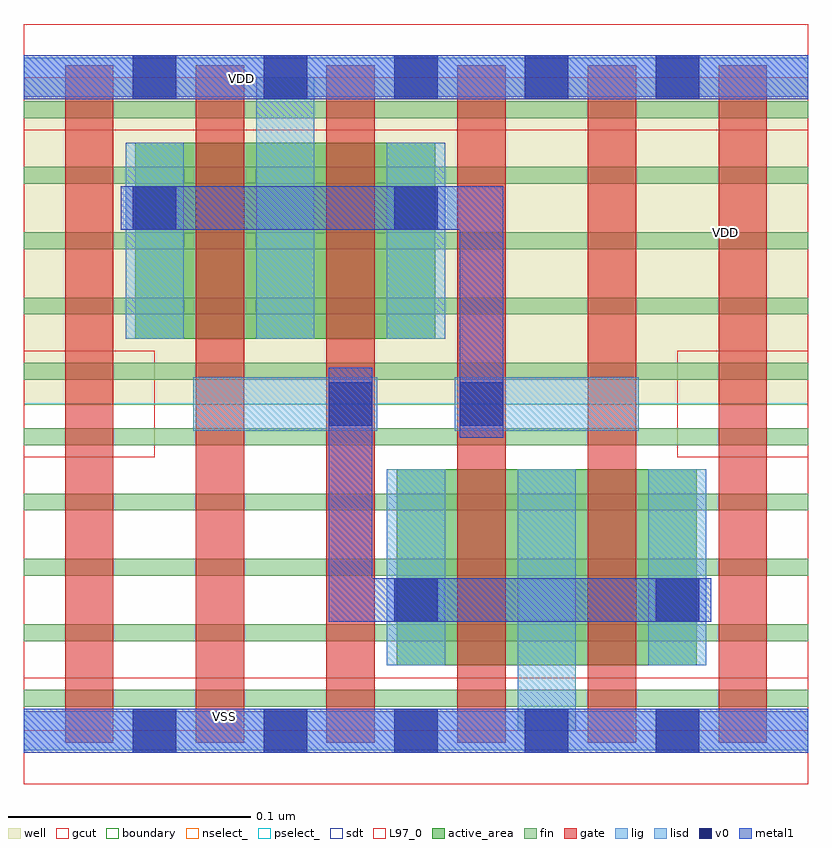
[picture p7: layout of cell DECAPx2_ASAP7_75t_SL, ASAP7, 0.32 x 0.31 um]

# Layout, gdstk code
import gdstk
lib = gdstk.Library(unit=1e-6, precision=2.5e-10)
def R(c, l, rs):  # rectangles x0, y0, x1, y1
    for r in rs: c.add(gdstk.rectangle(r[:2], r[2:], *l))
def A(c, l, x, y, w, h, nx, ny, dx, dy):  # array of equal rectangles
    R(c, l, [(x+i*dx, y+j*dy, x+i*dx+w, y+j*dy+h) for i in range(nx) for j in range(ny)])
def P(c, l, *ps):  # polygons
    for p in ps: c.add(gdstk.Polygon(p, *l))
well = (1, 0)
fin = (2, 0)
gate = (7, 0)
gcut = (10, 0)
active_area = (11, 0)
nselect_ = (12, 0)
pselect_ = (13, 0)
lig = (16, 0)
lisd = (17, 0)
v0 = (18, 0)
metal1 = (19, 0)
sdt = (88, 0)
L97_0 = (97, 0)
boundary = (100, 0)

decapx2_asap7_75t_sl = lib.new_cell('DECAPx2_ASAP7_75t_SL')
R(decapx2_asap7_75t_sl, well, [(0,0.135,0.324,0.27)])
A(decapx2_asap7_75t_sl, fin, 0, 0.01, 0.324, 0.007, 1, 10, 0, 0.027)
A(decapx2_asap7_75t_sl, gate, 0.017, -0.005, 0.02, 0.28, 6, 1, 0.054, 0)
R(decapx2_asap7_75t_sl, gcut, [(0,-0.022,0.324,0.022), (0,0.113,0.054,0.157), (0.27,0.113,0.324,0.157), (0,0.248,0.324,0.292)])
R(decapx2_asap7_75t_sl, active_area, [(0.154,0.027,0.278,0.108), (0.046,0.162,0.17,0.243)])
R(decapx2_asap7_75t_sl, nselect_, [(0,0,0.324,0.135)])
R(decapx2_asap7_75t_sl, pselect_, [(0,0.135,0.324,0.27)])
R(decapx2_asap7_75t_sl, lig, [(0,-0.008,0.324,0.008), (0.07,0.124,0.146,0.146), (0.178,0.124,0.254,0.146), (0,0.262,0.324,0.278)])
R(decapx2_asap7_75t_sl, lisd, [(0.204,0,0.228,0.108), (0.15,0.027,0.174,0.108), (0.258,0.027,0.282,0.108), (0.042,0.162,0.066,0.243), (0.096,0.162,0.12,0.27), (0.15,0.162,0.174,0.243)])
A(decapx2_asap7_75t_sl, v0, 0.045, -0.009, 0.018, 0.018, 5, 2, 0.054, 0.27)
R(decapx2_asap7_75t_sl, v0, [(0.153,0.045,0.171,0.063), (0.261,0.045,0.279,0.063), (0.126,0.126,0.144,0.144), (0.18,0.126,0.198,0.144), (0.045,0.207,0.063,0.225), (0.153,0.207,0.171,0.225)])
R(decapx2_asap7_75t_sl, metal1, [(0,-0.009,0.324,0.009), (0,0.261,0.324,0.279)])
P(decapx2_asap7_75t_sl, metal1, [(0.284,0.063),(0.144,0.063),(0.144,0.15),(0.126,0.15),(0.126,0.045),(0.284,0.045)],
  [(0.198,0.225),(0.04,0.225),(0.04,0.207),(0.18,0.207),(0.18,0.121),(0.198,0.121)])
A(decapx2_asap7_75t_sl, sdt, 0.15, 0.027, 0.024, 0.081, 3, 1, 0.054, 0)
A(decapx2_asap7_75t_sl, sdt, 0.042, 0.162, 0.024, 0.081, 3, 1, 0.054, 0)
R(decapx2_asap7_75t_sl, L97_0, [(0,0,0.324,0.27)])
R(decapx2_asap7_75t_sl, boundary, [(0,0,0.324,0.27)])
decapx2_asap7_75t_sl.add(gdstk.Label('VDD', (0.09,0.2695), layer=19, texttype=251))
decapx2_asap7_75t_sl.add(gdstk.Label('VSS', (0.083,0.006), layer=19, texttype=251))
decapx2_asap7_75t_sl.add(gdstk.Label('VSS', (0.353,0.207), layer=3, texttype=251))
decapx2_asap7_75t_sl.add(gdstk.Label('VDD', (0.29,0.206), layer=1, texttype=251))

lib.write_gds('DECAPx2_ASAP7_75t_SL.gds')
